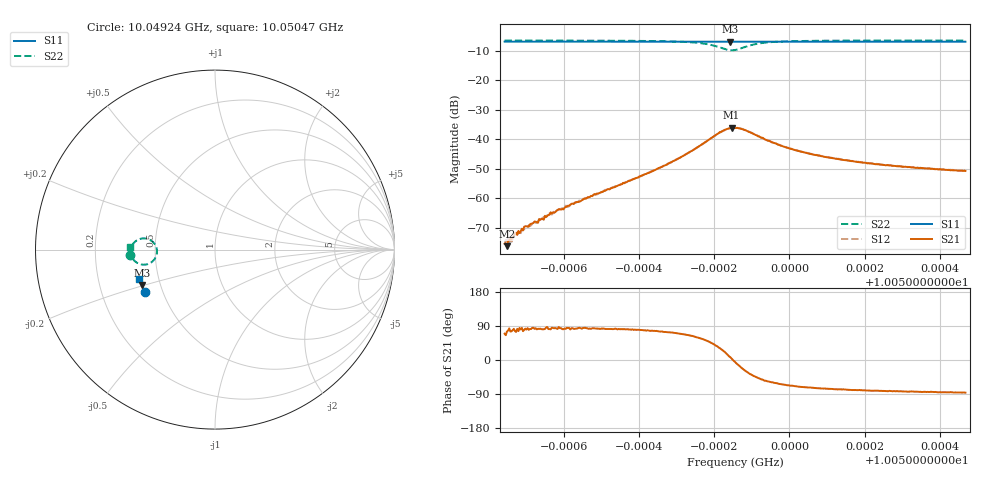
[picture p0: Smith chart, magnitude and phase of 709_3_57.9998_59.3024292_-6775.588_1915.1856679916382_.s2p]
#  HZ  S  RI  R  50.00
! Rohde & Schwarz Vector Network Analyzer
! Rohde-Schwarz,ZNB20-2Port,1311601062101988,3.16
! Created: UTC 3/21/2024, 1:22:06 AM
! freq[Hz]  re:S11  im:S11  re:S21  im:S21  re:S12  im:S12  re:S22  im:S22
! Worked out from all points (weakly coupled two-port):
!   401 points, 10.04924 GHz to 10.05047 GHz, reference 50 ohm
!   highest |S21| = -36.09 dB at 10.04985 GHz (marker M1); lowest = -76.3 dB at 10.04925 GHz (marker M2)
!   lowest |S11| = -6.9 dB at 10.04984 GHz (marker M3), VSWR 2.65, Z = 19.7 - j9.83 ohm
!   |S11| at or under -10 dB: nowhere
!   |S22| runs from -9.8 to -6.5 dB; largest |S21 - S12| = 0.0013
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1.0049243e10  -0.3895 -0.234  5.91e-05 0.000157  1.05e-05 0.000161  -0.4738 -0.0325
1.004925e10  -0.3897 -0.2336  3.96e-05 0.000147  3.47e-05 0.000171  -0.4736 -0.0322
1.0049253e10  -0.3897 -0.2333  3.92e-05 0.000182  4.14e-05 0.000207  -0.4737 -0.0319
1.0049262e10  -0.3901 -0.2329  4.88e-05 0.000193  4.98e-06 0.00018  -0.4737 -0.0309
1.0049274e10  -0.3905 -0.2321  6.98e-05 0.000247  4.88e-05 0.000255  -0.4737 -0.0298
1.0049296e10  -0.3912 -0.2308  5.97e-05 0.000322  3.51e-05 0.000295  -0.4736 -0.0279
1.004936e10  -0.3931 -0.227  7.66e-05 0.000516  -1.14e-06 0.000521  -0.4735 -0.0216
1.0049449e10  -0.396 -0.2218  0.000118 0.000911  5.42e-05 0.000944  -0.4726 -0.0119
1.0049654e10  -0.4021 -0.2097  0.000815 0.00315  0.000633 0.00317  -0.4629 0.0218
1.0049715e10  -0.4037 -0.2059  0.00187 0.00472  0.00162 0.00483  -0.4501 0.0396
1.0049794e10  -0.4053 -0.2008  0.00764 0.00743  0.00707 0.00787  -0.3909 0.0625
1.0049822e10  -0.4057 -0.1991  0.0123 0.0061  0.0118 0.00687  -0.3477 0.0443
1.0049843e10  -0.4058 -0.1982  0.0154 0.00193  0.0151 0.00298  -0.3242 0.00162
1.0049846e10  -0.4059 -0.1981  0.0156 0.00103  0.0154 0.00215  -0.3232 -0.0059
1.0049856e10  -0.4061 -0.1979  0.0154 -0.00134  0.0156 -0.000401  -0.3256 -0.0288
1.0049889e10  -0.4072 -0.1965  0.0115 -0.00737  0.0121 -0.00656  -0.373 -0.08
1.0049932e10  -0.409 -0.1942  0.00605 -0.00821  0.00664 -0.00776  -0.4265 -0.0776
1.0049996e10  -0.411 -0.1903  0.0028 -0.00652  0.00324 -0.00639  -0.4571 -0.0531
1.0050061e10  -0.4129 -0.1863  0.00163 -0.00529  0.00194 -0.00525  -0.4669 -0.0353
1.0050158e10  -0.4155 -0.1803  0.000843 -0.00424  0.00112 -0.0042  -0.4724 -0.0172
1.0050266e10  -0.418 -0.1736  0.000536 -0.00354  0.000701 -0.00355  -0.4743 -0.00302
1.0050468e10  -0.4226 -0.1611  0.000194 -0.00289  0.000359 -0.00291  -0.4749 0.017
